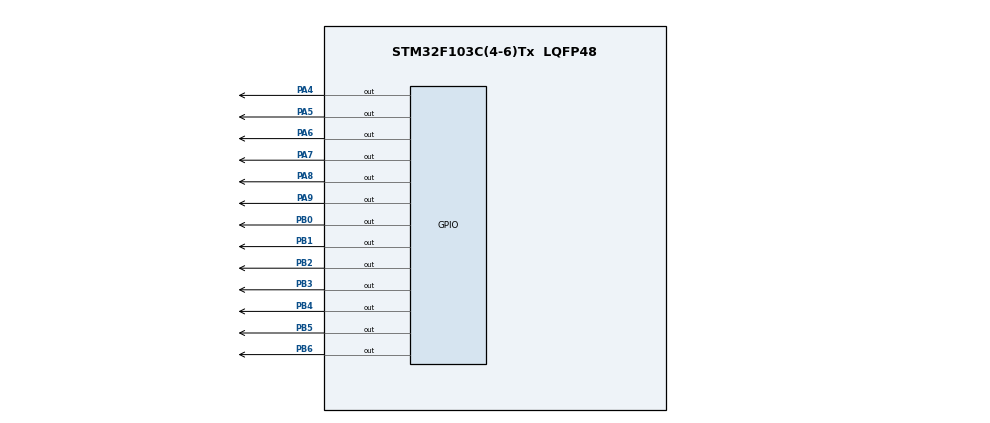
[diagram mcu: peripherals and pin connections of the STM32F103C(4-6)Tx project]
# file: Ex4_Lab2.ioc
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Mcu.Family=STM32F1
Mcu.Name=STM32F103C(4-6)Tx
Mcu.Package=LQFP48
NVIC.PriorityGroup=NVIC_PRIORITYGROUP_4
NVIC.TIM2_IRQn=true\:0\:0\:false\:false\:true\:true\:true
PA0-WKUP.Mode=SYS_WakeUp0
PA0-WKUP.Signal=SYS_WKUP
PA13.Mode=Serial_Wire
PA13.Signal=SYS_JTMS-SWDIO
PA14.Mode=Serial_Wire
PA14.Signal=SYS_JTCK-SWCLK
PA4.Signal=GPIO_Output
PA5.Signal=GPIO_Output
PA6.Signal=GPIO_Output
PA7.Signal=GPIO_Output
PA8.Signal=GPIO_Output
PA9.Signal=GPIO_Output
PB0.Signal=GPIO_Output
PB1.Signal=GPIO_Output
PB2.Signal=GPIO_Output
PB3.Signal=GPIO_Output
PB4.Signal=GPIO_Output
PB5.Signal=GPIO_Output
PB6.Signal=GPIO_Output
ProjectManager.HeapSize=0x200
ProjectManager.StackSize=0x400
ProjectManager.TargetToolchain=STM32CubeIDE
RCC.APB1Freq_Value=8000000
RCC.APB2Freq_Value=8000000
TIM2.Period=9
TIM2.Prescaler=7999
VP_TIM2_VS_ClockSourceINT.Mode=Internal
board=custom

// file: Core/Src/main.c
/* USER CODE BEGIN Header */
/**
  ******************************************************************************
  * @file           : main.c
  * @brief          : Main program body
  ******************************************************************************
  * @attention
  *
  * <h2><center>&copy; Copyright (c) 2023 STMicroelectronics.
  * All rights reserved.</center></h2>
  *
  * This software component is licensed by ST under BSD 3-Clause license,
  * the "License"; You may not use this file except in compliance with the
  * License. You may obtain a copy of the License at:
  *                        opensource.org/licenses/BSD-3-Clause
  *
  ******************************************************************************
  */
/* USER CODE END Header */
#include "main.h"
#include "software_timer.h"

TIM_HandleTypeDef htim2;

void SystemClock_Config(void);
static void MX_GPIO_Init(void);
static void MX_TIM2_Init(void);

int main(void)
{

  /* MCU Configuration--------------------------------------------------------*/

  /* Reset of all peripherals, Initializes the Flash interface and the Systick. */
  HAL_Init();

  /* Configure the system clock */
  SystemClock_Config();

  /* Initialize all configured peripherals */
  MX_GPIO_Init();
  MX_TIM2_Init();
  /* USER CODE BEGIN 2 */
  HAL_TIM_Base_Start_IT(&htim2);
  void display7SEG(int num){
	  char s[100] = {0xC0, 0xF9, 0xA4, 0xB0, 0X99, 0x92, 0x82, 0xF8, 0x80, 0x90};
      for(int i = 0; i < 7; ++i){
         HAL_GPIO_WritePin(GPIOB, GPIO_PIN_0 << i, (s[num] >> i) & 1);
      }
   }
   const int MAX_LED = 4;
   int index_led = 0;
   int led_buffer [4] = {0, 1, 2, 3};
   void update7SEG ( int index ){
   switch ( index ){
    	case 0:
    		// Display the first 7 SEG with led_buffer [0]
    		display7SEG(led_buffer[0]);
    		HAL_GPIO_WritePin(GPIOA, GPIO_PIN_6, RESET);
    		HAL_GPIO_WritePin(GPIOA, GPIO_PIN_7, SET);
    		HAL_GPIO_WritePin(GPIOA, GPIO_PIN_8, SET);
    		HAL_GPIO_WritePin(GPIOA, GPIO_PIN_9, SET);
    		break ;
    	case 1:
    		// Display the second 7 SEG with led_buffer [1]
    		display7SEG(led_buffer[1]);
    		HAL_GPIO_WritePin(GPIOA, GPIO_PIN_6, SET);
    		HAL_GPIO_WritePin(GPIOA, GPIO_PIN_7, RESET);
    		HAL_GPIO_WritePin(GPIOA, GPIO_PIN_8, SET);
    		HAL_GPIO_WritePin(GPIOA, GPIO_PIN_9, SET);
    		break ;
    	 case 2:
    		 // Display the third 7 SEG with led_buffer [2]
    		 display7SEG(led_buffer[2]);
    		 HAL_GPIO_WritePin(GPIOA, GPIO_PIN_6, SET);
    		 HAL_GPIO_WritePin(GPIOA, GPIO_PIN_7, SET);
    		 HAL_GPIO_WritePin(GPIOA, GPIO_PIN_8, RESET);
    		 HAL_GPIO_WritePin(GPIOA, GPIO_PIN_9, SET);
    		 break ;
    	 case 3:
    		  // Display the forth 7 SEG with led_buffer [3]
    		  display7SEG(led_buffer[3]);
    		  HAL_GPIO_WritePin(GPIOA, GPIO_PIN_6, SET);
    		  HAL_GPIO_WritePin(GPIOA, GPIO_PIN_7, SET);
    		  HAL_GPIO_WritePin(GPIOA, GPIO_PIN_8, SET);
    		  HAL_GPIO_WritePin(GPIOA, GPIO_PIN_9, RESET);
    		  break ;
    	  default :
    		  break ;
    	 }
      }
    setTimer1(25);
    setTimer2(50);
  /* USER CODE END 2 */

  /* Infinite loop */
  while (1)
  {

    /* USER CODE BEGIN 3 */
	  if(timer1_flag == 1){
		  setTimer1(25);
	  	  update7SEG(index_led);
	  	  index_led++;
	  	  if(index_led == MAX_LED){
	  	  	index_led = 0;

	  	  }
	  }

  	  if(timer2_flag == 1){
  		setTimer2(50);
  		HAL_GPIO_TogglePin(GPIOA, GPIO_PIN_4);
  		HAL_GPIO_TogglePin(GPIOA, GPIO_PIN_5);

  }
  }
  /* USER CODE END 3 */
}

void SystemClock_Config(void)
{
  RCC_OscInitTypeDef RCC_OscInitStruct = {0};
  RCC_ClkInitTypeDef RCC_ClkInitStruct = {0};

  /** Initializes the RCC Oscillators according to the specified parameters
  * in the RCC_OscInitTypeDef structure.
  */
  RCC_OscInitStruct.OscillatorType = RCC_OSCILLATORTYPE_HSI;
  RCC_OscInitStruct.HSIState = RCC_HSI_ON;
  RCC_OscInitStruct.HSICalibrationValue = RCC_HSICALIBRATION_DEFAULT;
  RCC_OscInitStruct.PLL.PLLState = RCC_PLL_NONE;
  if (HAL_RCC_OscConfig(&RCC_OscInitStruct) != HAL_OK)
  {
    Error_Handler();
  }
  /** Initializes the CPU, AHB and APB buses clocks
  */
  RCC_ClkInitStruct.ClockType = RCC_CLOCKTYPE_HCLK|RCC_CLOCKTYPE_SYSCLK
                              |RCC_CLOCKTYPE_PCLK1|RCC_CLOCKTYPE_PCLK2;
  RCC_ClkInitStruct.SYSCLKSource = RCC_SYSCLKSOURCE_HSI;
  RCC_ClkInitStruct.AHBCLKDivider = RCC_SYSCLK_DIV1;
  RCC_ClkInitStruct.APB1CLKDivider = RCC_HCLK_DIV1;
  RCC_ClkInitStruct.APB2CLKDivider = RCC_HCLK_DIV1;

  if (HAL_RCC_ClockConfig(&RCC_ClkInitStruct, FLASH_LATENCY_0) != HAL_OK)
  {
    Error_Handler();
  }
}

static void MX_TIM2_Init(void)
{

  TIM_ClockConfigTypeDef sClockSourceConfig = {0};
  TIM_MasterConfigTypeDef sMasterConfig = {0};

  htim2.Instance = TIM2;
  htim2.Init.Prescaler = 7999;
  htim2.Init.CounterMode = TIM_COUNTERMODE_UP;
  htim2.Init.Period = 9;
  htim2.Init.ClockDivision = TIM_CLOCKDIVISION_DIV1;
  htim2.Init.AutoReloadPreload = TIM_AUTORELOAD_PRELOAD_DISABLE;
  if (HAL_TIM_Base_Init(&htim2) != HAL_OK)
  {
    Error_Handler();
  }
  sClockSourceConfig.ClockSource = TIM_CLOCKSOURCE_INTERNAL;
  if (HAL_TIM_ConfigClockSource(&htim2, &sClockSourceConfig) != HAL_OK)
  {
    Error_Handler();
  }
  sMasterConfig.MasterOutputTrigger = TIM_TRGO_RESET;
  sMasterConfig.MasterSlaveMode = TIM_MASTERSLAVEMODE_DISABLE;
  if (HAL_TIMEx_MasterConfigSynchronization(&htim2, &sMasterConfig) != HAL_OK)
  {
    Error_Handler();
  }

}

static void MX_GPIO_Init(void)
{
  GPIO_InitTypeDef GPIO_InitStruct = {0};

  /* GPIO Ports Clock Enable */
  __HAL_RCC_GPIOA_CLK_ENABLE();
  __HAL_RCC_GPIOB_CLK_ENABLE();

  /*Configure GPIO pin Output Level */
  HAL_GPIO_WritePin(GPIOA, GPIO_PIN_4|GPIO_PIN_5|GPIO_PIN_6|GPIO_PIN_7
                          |GPIO_PIN_8|GPIO_PIN_9, GPIO_PIN_RESET);

  /*Configure GPIO pin Output Level */
  HAL_GPIO_WritePin(GPIOB, GPIO_PIN_0|GPIO_PIN_1|GPIO_PIN_2|GPIO_PIN_3
                          |GPIO_PIN_4|GPIO_PIN_5|GPIO_PIN_6, GPIO_PIN_RESET);

  /*Configure GPIO pins : PA4 PA5 PA6 PA7
                           PA8 PA9 */
  GPIO_InitStruct.Pin = GPIO_PIN_4|GPIO_PIN_5|GPIO_PIN_6|GPIO_PIN_7
                          |GPIO_PIN_8|GPIO_PIN_9;
  GPIO_InitStruct.Mode = GPIO_MODE_OUTPUT_PP;
  GPIO_InitStruct.Pull = GPIO_NOPULL;
  GPIO_InitStruct.Speed = GPIO_SPEED_FREQ_LOW;
  HAL_GPIO_Init(GPIOA, &GPIO_InitStruct);

  /*Configure GPIO pins : PB0 PB1 PB2 PB3
                           PB4 PB5 PB6 */
  GPIO_InitStruct.Pin = GPIO_PIN_0|GPIO_PIN_1|GPIO_PIN_2|GPIO_PIN_3
                          |GPIO_PIN_4|GPIO_PIN_5|GPIO_PIN_6;
  GPIO_InitStruct.Mode = GPIO_MODE_OUTPUT_PP;
  GPIO_InitStruct.Pull = GPIO_NOPULL;
  GPIO_InitStruct.Speed = GPIO_SPEED_FREQ_LOW;
  HAL_GPIO_Init(GPIOB, &GPIO_InitStruct);

}

/* USER CODE BEGIN 4 */
void HAL_TIM_PeriodElapsedCallback(TIM_HandleTypeDef *htim){
	timerRun();
}
/* USER CODE END 4 */

void Error_Handler(void)
{
  __disable_irq();
  while (1)
  {
  }
}

/************************ (C) COPYRIGHT STMicroelectronics *****END OF FILE****/
